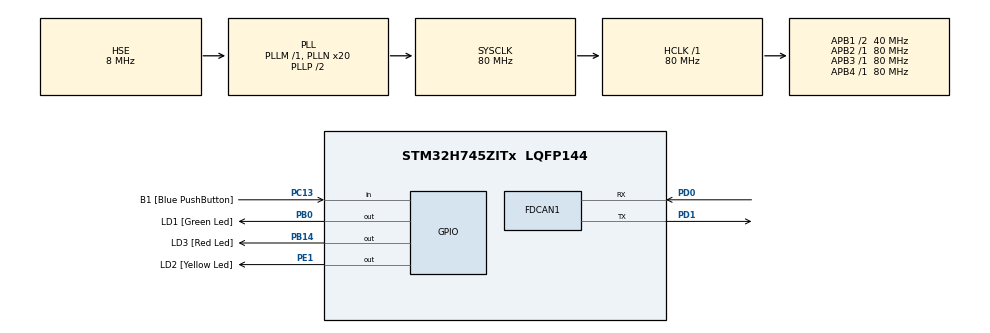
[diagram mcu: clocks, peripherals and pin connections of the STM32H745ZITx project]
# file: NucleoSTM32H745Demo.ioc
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CortexM4.IPs=FATFS_M4\:I,FREERTOS_M4\:I,IWDG2\:I,RCC,WWDG2\:I,DMA,BDMA,MDMA,NVIC2\:I,DEBUG,USB_DEVICE_M4\:I,USB_HOST_M4\:I,PDM2PCM_M4\:I,PWR,RESMGR_UTILITY,SYS_M4\:I,CORTEX_M4\:I,OPENAMP_M4\:I,VREFBUF
CortexM7.IPs=FATFS_M7\:I,FREERTOS_M7\:I,IWDG1\:I,RCC\:I,WWDG1\:I,DMA\:I,BDMA\:I,MDMA\:I,NVIC1\:I,SYS\:I,CORTEX_M7\:I,DEBUG\:I,USB_DEVICE_M7\:I,USB_HOST_M7\:I,PDM2PCM_M7\:I,PWR\:I,RESMGR_UTILITY\:I,OPENAMP_M7\:I,VREFBUF\:I,FDCAN1\:I
CortexM7.Pins=PB0,PE1
FDCAN1.AutoRetransmission=ENABLE
FDCAN1.FrameFormat=FDCAN_FRAME_CLASSIC
FDCAN1.NominalPrescaler=0x1
FDCAN1.NominalSyncJumpWidth=0x8
FDCAN1.NominalTimeSeg1=0x1F
FDCAN1.NominalTimeSeg2=0x8
FDCAN1.ProtocolException=ENABLE
FDCAN1.RxFifo0ElmtsNbr=1
FDCAN1.StdFiltersNbr=1
FDCAN1.TransmitPause=DISABLE
FDCAN1.TxFifoQueueElmtsNbr=1
Mcu.Family=STM32H7
Mcu.Name=STM32H745ZITx
Mcu.Package=LQFP144
NVIC1.FDCAN1_IT0_IRQn=true\:0\:0\:false\:false\:true\:true\:true
NVIC1.PriorityGroup=NVIC_PRIORITYGROUP_4
NVIC2.PriorityGroup=NVIC_PRIORITYGROUP_4
PB0.GPIO_Label=LD1 [Green Led]
PB0.PinAttribute=CortexM7
PB0.Signal=GPIO_Output
PB14.GPIO_Label=LD3 [Red Led]
PB14.PinAttribute=Free
PB14.Signal=GPIO_Output
PC13.GPIO_Label=B1 [Blue PushButton]
PC13.PinAttribute=Free
PC13.Signal=GPIO_Input
PC14-OSC32_IN\ (OSC32_IN).Mode=LSE-External-Oscillator
PC14-OSC32_IN\ (OSC32_IN).PinAttribute=CortexM7
PC14-OSC32_IN\ (OSC32_IN).Signal=RCC_OSC32_IN
PC15-OSC32_OUT\ (OSC32_OUT).Mode=LSE-External-Oscillator
PC15-OSC32_OUT\ (OSC32_OUT).PinAttribute=CortexM7
PC15-OSC32_OUT\ (OSC32_OUT).Signal=RCC_OSC32_OUT
PD0.GPIO_Mode=GPIO_MODE_AF_PP
PD0.GPIO_PuPd=GPIO_NOPULL
PD0.GPIO_Speed=GPIO_SPEED_FREQ_LOW
PD0.Mode=FDCAN_Activate
PD0.PinAttribute=CortexM7
PD0.Signal=FDCAN1_RX
PD1.GPIO_Mode=GPIO_MODE_AF_PP
PD1.GPIO_PuPd=GPIO_NOPULL
PD1.GPIO_Speed=GPIO_SPEED_FREQ_LOW
PD1.Mode=FDCAN_Activate
PD1.PinAttribute=CortexM7
PD1.Signal=FDCAN1_TX
PD8.GPIO_Label=STLINK_RX
PD8.PinAttribute=CortexM7
PD8.Signal=USART3_TX
PD9.GPIO_Label=STLINK_TX
PD9.PinAttribute=CortexM7
PD9.Signal=USART3_RX
PE1.GPIO_Label=LD2 [Yellow Led]
PE1.PinAttribute=CortexM7
PE1.Signal=GPIO_Output
PH0-OSC_IN\ (PH0).Mode=HSE-External-Oscillator
PH0-OSC_IN\ (PH0).PinAttribute=CortexM7
PH0-OSC_IN\ (PH0).Signal=RCC_OSC_IN
PH1-OSC_OUT\ (PH1).Mode=HSE-External-Oscillator
PH1-OSC_OUT\ (PH1).PinAttribute=CortexM7
PH1-OSC_OUT\ (PH1).Signal=RCC_OSC_OUT
ProjectManager.HeapSize=M4-0x200,M7-0x200
ProjectManager.StackSize=M4-0x400,M7-0x400
ProjectManager.TargetToolchain=STM32CubeIDE
RCC.ADCFreq_Value=6875000
RCC.APB1Freq_Value=40000000
RCC.APB2Freq_Value=80000000
RCC.APB3Freq_Value=80000000
RCC.APB4Freq_Value=80000000
RCC.CortexFreq_Value=80000000
RCC.D2PPRE1=RCC_APB1_DIV2
RCC.DIVM1=1
RCC.DIVN1=20
RCC.DIVN2=55
RCC.DIVQ1=4
RCC.HCLKFreq_Value=80000000
RCC.HSE_VALUE=8000000
RCC.PLL1_VCI_Range-AdvancedSettings=RCC_PLL1VCIRANGE_0
RCC.PLLFRACN=0
RCC.PLLSourceVirtual=RCC_PLLSOURCE_HSE
RCC.SYSCLKFreq_VALUE=80000000
RCC.SYSCLKSource=RCC_SYSCLKSOURCE_PLLCLK
RCC.USBCLockSelection=RCC_USBCLKSOURCE_PLL3
RCC.USBFreq_Value=16125000
VP_SYS_M4_VS_Systick.Mode=SysTick
board=NUCLEO-H745ZI-Q

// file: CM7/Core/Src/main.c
/* USER CODE BEGIN Header */
/* USER CODE END Header */
#include "main.h"

FDCAN_HandleTypeDef hfdcan1;

/* USER CODE BEGIN PV */
FDCAN_RxHeaderTypeDef RxHeader;
uint8_t RxData[8];
FDCAN_TxHeaderTypeDef TxHeader;
uint8_t TxData[8] = {'J', ' ', 'D', 'E', 'E', 'R', 'E', '.'};
FDCAN_FilterTypeDef sFilterConfig;
uint32_t PGN = 0xFA01; //This is where you select PNG;
/* USER CODE END PV */

void SystemClock_Config(void);
static void MX_GPIO_Init(void);
static void MX_FDCAN1_Init(void);

int main(void)
{
/* USER CODE BEGIN Boot_Mode_Sequence_0 */
/* USER CODE END Boot_Mode_Sequence_0 */

/* USER CODE BEGIN Boot_Mode_Sequence_1 */
/* USER CODE END Boot_Mode_Sequence_1 */
  /* MCU Configuration--------------------------------------------------------*/

  /* Reset of all peripherals, Initializes the Flash interface and the Systick. */
  HAL_Init();

  /* Configure the system clock */
  SystemClock_Config();
/* USER CODE BEGIN Boot_Mode_Sequence_2 */
/* USER CODE END Boot_Mode_Sequence_2 */

  /* Initialize all configured peripherals */
  MX_GPIO_Init();
  MX_FDCAN1_Init();

  /* Infinite loop */
  while (1)
  {

    /* USER CODE BEGIN 3 */
	/* Start the Transmission process */
	HAL_GPIO_TogglePin(LD2_GPIO_Port, LD2_Pin);
    if (HAL_FDCAN_AddMessageToTxFifoQ(&hfdcan1, &TxHeader, TxData) != HAL_OK)
    {
      /* Transmission request Error */
      Error_Handler();
    }

	/* Start the Reception process */
	/* Retrieve Rx messages from RX FIFO0 */
	if (HAL_FDCAN_GetRxMessage(&hfdcan1, FDCAN_RX_FIFO0, &RxHeader, RxData) == HAL_OK)
	{
		//if ((RxHeader.Identifier == 0x255) && (RxHeader.IdType == FDCAN_STANDARD_ID) && (RxHeader.DataLength == FDCAN_DLC_BYTES_8))
		if(RxHeader.Identifier == 0x255)
		{
			HAL_GPIO_TogglePin(LD1_GPIO_Port,LD1_Pin);
			RxHeader.DataLength = FDCAN_DLC_BYTES_0;
		}
	}
	else
	{
		/* Reception Error */
	}

	HAL_Delay(500);
  }
  /* USER CODE END 3 */
}

void SystemClock_Config(void)
{
  RCC_OscInitTypeDef RCC_OscInitStruct = {0};
  RCC_ClkInitTypeDef RCC_ClkInitStruct = {0};

  /** Supply configuration update enable
  */
  HAL_PWREx_ConfigSupply(PWR_DIRECT_SMPS_SUPPLY);
  /** Configure the main internal regulator output voltage
  */
  __HAL_PWR_VOLTAGESCALING_CONFIG(PWR_REGULATOR_VOLTAGE_SCALE3);

  while(!__HAL_PWR_GET_FLAG(PWR_FLAG_VOSRDY)) {}
  /** Initializes the RCC Oscillators according to the specified parameters
  * in the RCC_OscInitTypeDef structure.
  */
  RCC_OscInitStruct.OscillatorType = RCC_OSCILLATORTYPE_HSE;
  RCC_OscInitStruct.HSEState = RCC_HSE_ON;
  RCC_OscInitStruct.PLL.PLLState = RCC_PLL_ON;
  RCC_OscInitStruct.PLL.PLLSource = RCC_PLLSOURCE_HSE;
  RCC_OscInitStruct.PLL.PLLM = 1;
  RCC_OscInitStruct.PLL.PLLN = 20;
  RCC_OscInitStruct.PLL.PLLP = 2;
  RCC_OscInitStruct.PLL.PLLQ = 4;
  RCC_OscInitStruct.PLL.PLLR = 2;
  RCC_OscInitStruct.PLL.PLLRGE = RCC_PLL1VCIRANGE_3;
  RCC_OscInitStruct.PLL.PLLVCOSEL = RCC_PLL1VCOMEDIUM;
  RCC_OscInitStruct.PLL.PLLFRACN = 0;
  if (HAL_RCC_OscConfig(&RCC_OscInitStruct) != HAL_OK)
  {
    Error_Handler();
  }
  /** Initializes the CPU, AHB and APB buses clocks
  */
  RCC_ClkInitStruct.ClockType = RCC_CLOCKTYPE_HCLK|RCC_CLOCKTYPE_SYSCLK
                              |RCC_CLOCKTYPE_PCLK1|RCC_CLOCKTYPE_PCLK2
                              |RCC_CLOCKTYPE_D3PCLK1|RCC_CLOCKTYPE_D1PCLK1;
  RCC_ClkInitStruct.SYSCLKSource = RCC_SYSCLKSOURCE_PLLCLK;
  RCC_ClkInitStruct.SYSCLKDivider = RCC_SYSCLK_DIV1;
  RCC_ClkInitStruct.AHBCLKDivider = RCC_HCLK_DIV1;
  RCC_ClkInitStruct.APB3CLKDivider = RCC_APB3_DIV1;
  RCC_ClkInitStruct.APB1CLKDivider = RCC_APB1_DIV2;
  RCC_ClkInitStruct.APB2CLKDivider = RCC_APB2_DIV1;
  RCC_ClkInitStruct.APB4CLKDivider = RCC_APB4_DIV1;

  if (HAL_RCC_ClockConfig(&RCC_ClkInitStruct, FLASH_LATENCY_1) != HAL_OK)
  {
    Error_Handler();
  }
}

static void MX_FDCAN1_Init(void)
{

  hfdcan1.Instance = FDCAN1;
  hfdcan1.Init.FrameFormat = FDCAN_FRAME_CLASSIC;
  hfdcan1.Init.Mode = FDCAN_MODE_NORMAL;
  hfdcan1.Init.AutoRetransmission = ENABLE;
  hfdcan1.Init.TransmitPause = DISABLE;
  hfdcan1.Init.ProtocolException = ENABLE;
  hfdcan1.Init.NominalPrescaler = 0x1;
  hfdcan1.Init.NominalSyncJumpWidth = 0x8;
  hfdcan1.Init.NominalTimeSeg1 = 0x1F;
  hfdcan1.Init.NominalTimeSeg2 = 0x8;
  hfdcan1.Init.DataPrescaler = 1;
  hfdcan1.Init.DataSyncJumpWidth = 1;
  hfdcan1.Init.DataTimeSeg1 = 1;
  hfdcan1.Init.DataTimeSeg2 = 1;
  hfdcan1.Init.MessageRAMOffset = 0;
  hfdcan1.Init.StdFiltersNbr = 1;
  hfdcan1.Init.ExtFiltersNbr = 0;
  hfdcan1.Init.RxFifo0ElmtsNbr = 1;
  hfdcan1.Init.RxFifo0ElmtSize = FDCAN_DATA_BYTES_8;
  hfdcan1.Init.RxFifo1ElmtsNbr = 0;
  hfdcan1.Init.RxFifo1ElmtSize = FDCAN_DATA_BYTES_8;
  hfdcan1.Init.RxBuffersNbr = 0;
  hfdcan1.Init.RxBufferSize = FDCAN_DATA_BYTES_8;
  hfdcan1.Init.TxEventsNbr = 0;
  hfdcan1.Init.TxBuffersNbr = 0;
  hfdcan1.Init.TxFifoQueueElmtsNbr = 1;
  hfdcan1.Init.TxFifoQueueMode = FDCAN_TX_FIFO_OPERATION;
  hfdcan1.Init.TxElmtSize = FDCAN_DATA_BYTES_8;
  if (HAL_FDCAN_Init(&hfdcan1) != HAL_OK)
  {
    Error_Handler();
  }
  /* USER CODE BEGIN FDCAN1_Init 2 */
/* Configure Rx filter */
  sFilterConfig.IdType = FDCAN_EXTENDED_ID;
  sFilterConfig.FilterIndex = 0;
  sFilterConfig.FilterType = FDCAN_FILTER_MASK;
  sFilterConfig.FilterConfig = FDCAN_FILTER_TO_RXFIFO0;
  sFilterConfig.FilterID1 = 0x1111111;
  sFilterConfig.FilterID2 = 0x2222222;
  if (HAL_FDCAN_ConfigFilter(&hfdcan1, &sFilterConfig) != HAL_OK)
  {
    /* Filter configuration Error */
    Error_Handler();
  }

  /* Start the FDCAN module */
  if (HAL_FDCAN_Start(&hfdcan1) != HAL_OK)
    /* Start Error */

  if (HAL_FDCAN_ActivateNotification(&hfdcan1, FDCAN_IT_RX_FIFO0_NEW_MESSAGE, 0) != HAL_OK)
    /* Notification Error */

  /* Prepare Tx Header */
  TxHeader.Identifier = PGN2CANID(PGN);
  TxHeader.IdType = FDCAN_EXTENDED_ID;
  TxHeader.TxFrameType = FDCAN_DATA_FRAME;
  TxHeader.DataLength = FDCAN_DLC_BYTES_8;
  TxHeader.ErrorStateIndicator = FDCAN_ESI_PASSIVE;
  TxHeader.BitRateSwitch = FDCAN_BRS_OFF;
  TxHeader.FDFormat = FDCAN_FD_CAN;
  TxHeader.TxEventFifoControl = FDCAN_NO_TX_EVENTS;
  TxHeader.MessageMarker = 0;
  /* USER CODE END FDCAN1_Init 2 */

}

static void MX_GPIO_Init(void)
{
  GPIO_InitTypeDef GPIO_InitStruct = {0};

  /* GPIO Ports Clock Enable */
  __HAL_RCC_GPIOC_CLK_ENABLE();
  __HAL_RCC_GPIOH_CLK_ENABLE();
  __HAL_RCC_GPIOB_CLK_ENABLE();
  __HAL_RCC_GPIOD_CLK_ENABLE();
  __HAL_RCC_GPIOE_CLK_ENABLE();

  /*Configure GPIO pin Output Level */
  HAL_GPIO_WritePin(LD1_GPIO_Port, LD1_Pin, GPIO_PIN_RESET);

  /*Configure GPIO pin Output Level */
  HAL_GPIO_WritePin(LD2_GPIO_Port, LD2_Pin, GPIO_PIN_RESET);

  /*Configure GPIO pin : LD1_Pin */
  GPIO_InitStruct.Pin = LD1_Pin;
  GPIO_InitStruct.Mode = GPIO_MODE_OUTPUT_PP;
  GPIO_InitStruct.Pull = GPIO_NOPULL;
  GPIO_InitStruct.Speed = GPIO_SPEED_FREQ_LOW;
  HAL_GPIO_Init(LD1_GPIO_Port, &GPIO_InitStruct);

  /*Configure GPIO pin : LD2_Pin */
  GPIO_InitStruct.Pin = LD2_Pin;
  GPIO_InitStruct.Mode = GPIO_MODE_OUTPUT_PP;
  GPIO_InitStruct.Pull = GPIO_NOPULL;
  GPIO_InitStruct.Speed = GPIO_SPEED_FREQ_LOW;
  HAL_GPIO_Init(LD2_GPIO_Port, &GPIO_InitStruct);

}

/* USER CODE BEGIN 4 */
uint32_t * getM4(){ // get data from M4 to M7 buffer
	static uint32_t * buffer; //buffer to receive data
	*buffer = sd1_ptr->temp; // transfer data
	return buffer; //return the buffer (pointer)
}

uint32_t PGN2CANID(uint32_t PGN){
	uint32_t canid = 0;
	uint32_t head = 0x18;
	uint32_t tail = 0xFE;
	canid = ((uint32_t)head<<24) | ((uint32_t)PGN<<8) | tail;
	return canid;
}
/* USER CODE END 4 */

void Error_Handler(void)
{
}

/************************ (C) COPYRIGHT STMicroelectronics *****END OF FILE****/
